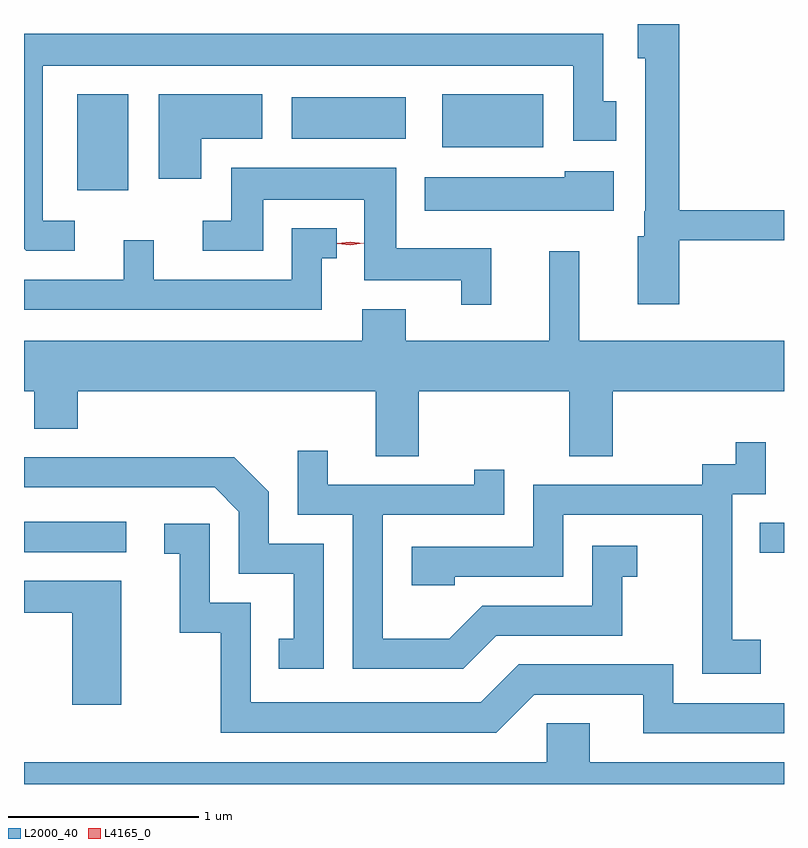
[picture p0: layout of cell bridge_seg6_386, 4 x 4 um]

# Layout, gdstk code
import gdstk
lib = gdstk.Library(unit=1e-6, precision=1e-09)
def R(c, l, rs):  # rectangles x0, y0, x1, y1
    for r in rs: c.add(gdstk.rectangle(r[:2], r[2:], *l))
def P(c, l, *ps):  # polygons
    for p in ps: c.add(gdstk.Polygon(p, *l))
L2000_40 = (2000, 40)
L4165_0 = (4165, 0)

bridge_seg6_386 = lib.new_cell('bridge_seg6_386')
R(bridge_seg6_386, L2000_40, [(928.543,1651.306,928.671,1651.464), (924.671,1651.311,925.208,1651.469), (924.951,1653.216,925.219,1653.719), (926.871,1653.441,927.404,1653.719), (926.081,1653.486,926.679,1653.704)])
P(bridge_seg6_386, L2000_40, [(928.119,1652.951),(928.671,1652.951),(928.671,1653.109),(928.119,1653.109),(928.119,1654.09),(927.901,1654.09),(927.901,1653.911),(927.941,1653.911),(927.941,1653.105),(927.936,1653.105),(927.936,1652.974),(927.901,1652.974),(927.901,1652.616),(928.119,1652.616)],
  [(924.938,1653.054),(924.769,1653.054),(924.769,1653.871),(927.561,1653.871),(927.561,1653.476),(927.789,1653.476),(927.789,1653.684),(927.719,1653.684),(927.719,1654.039),(924.671,1654.039),(924.671,1652.907),(924.682,1652.896),(924.938,1652.896)],
  [(925.604,1653.486),(925.924,1653.486),(925.924,1653.719),(925.381,1653.719),(925.381,1653.276),(925.604,1653.276)],
  [(927.129,1652.909),(926.629,1652.909),(926.629,1653.334),(925.761,1653.334),(925.761,1653.054),(925.613,1653.054),(925.613,1652.896),(925.929,1652.896),(925.929,1653.166),(926.461,1653.166),(926.461,1652.741),(926.971,1652.741),(926.971,1652.613),(927.129,1652.613)],
  [(927.774,1653.314),(927.516,1653.314),(927.516,1653.284),(926.781,1653.284),(926.781,1653.106),(927.774,1653.106)],
  [(926.239,1652.856),(926.318,1652.856),(926.318,1653.014),(926.081,1653.014),(926.081,1652.744),(925.354,1652.744),(925.354,1652.953),(925.196,1652.953),(925.196,1652.744),(924.671,1652.744),(924.671,1652.586),(926.239,1652.586)],
  [(924.671,1652.156),(924.726,1652.156),(924.726,1651.961),(924.954,1651.961),(924.954,1652.156),(926.521,1652.156),(926.521,1651.816),(926.749,1651.816),(926.749,1652.156),(927.541,1652.156),(927.541,1651.816),(927.769,1651.816),(927.769,1652.156),(928.671,1652.156),(928.671,1652.424),(927.594,1652.424),(927.594,1652.893),(927.436,1652.893),(927.436,1652.424),(926.679,1652.424),(926.679,1652.589),(926.451,1652.589),(926.451,1652.424),(924.671,1652.424)],
  [(928.549,1650.849),(928.399,1650.849),(928.399,1651.616),(928.574,1651.616),(928.574,1651.888),(928.416,1651.888),(928.416,1651.774),(928.241,1651.774),(928.241,1651.664),(927.351,1651.664),(927.351,1651.339),(926.711,1651.339),(926.711,1651.136),(926.939,1651.136),(926.939,1651.181),(927.509,1651.181),(927.509,1651.506),(928.241,1651.506),(928.241,1650.671),(928.549,1650.671)],
  [(927.157,1650.871),(927.819,1650.871),(927.819,1651.181),(927.898,1651.181),(927.898,1651.344),(927.661,1651.344),(927.661,1651.029),(927.084,1651.029),(926.909,1650.854),(926.559,1650.854),(926.559,1651.506),(927.199,1651.506),(927.199,1651.743),(927.041,1651.743),(927.041,1651.664),(926.269,1651.664),(926.269,1651.843),(926.111,1651.843),(926.111,1651.506),(926.401,1651.506),(926.401,1650.696),(926.982,1650.696)],
  [(926.249,1651.354),(925.959,1651.354),(925.959,1651.627),(925.777,1651.809),(924.671,1651.809),(924.671,1651.651),(925.674,1651.651),(925.801,1651.524),(925.801,1651.196),(926.091,1651.196),(926.091,1650.854),(926.013,1650.854),(926.013,1650.696),(926.249,1650.696)],
  [(928.671,1650.514),(928.089,1650.514),(928.089,1650.719),(927.274,1650.719),(927.074,1650.519),(925.864,1650.519),(925.864,1651.044),(925.649,1651.044),(925.649,1651.459),(925.408,1651.459),(925.408,1651.301),(925.491,1651.301),(925.491,1650.886),(925.706,1650.886),(925.706,1650.361),(927.157,1650.361),(927.357,1650.561),(927.931,1650.561),(927.931,1650.356),(928.671,1650.356)],
  [(925.184,1651.159),(924.671,1651.159),(924.671,1650.991),(924.926,1650.991),(924.926,1650.506),(925.184,1650.506)],
  [(928.671,1650.204),(927.649,1650.204),(927.649,1650.409),(927.421,1650.409),(927.421,1650.204),(924.671,1650.204),(924.671,1650.09),(928.671,1650.09)])
P(bridge_seg6_386, L4165_0, [(926.388,1652.925),(926.319,1652.934),(926.319,1652.935),(926.319,1652.935),(926.388,1652.945),(926.458,1652.936),(926.458,1652.936),(926.458,1652.935)])

lib.write_gds('bridge_seg6_386.gds')
